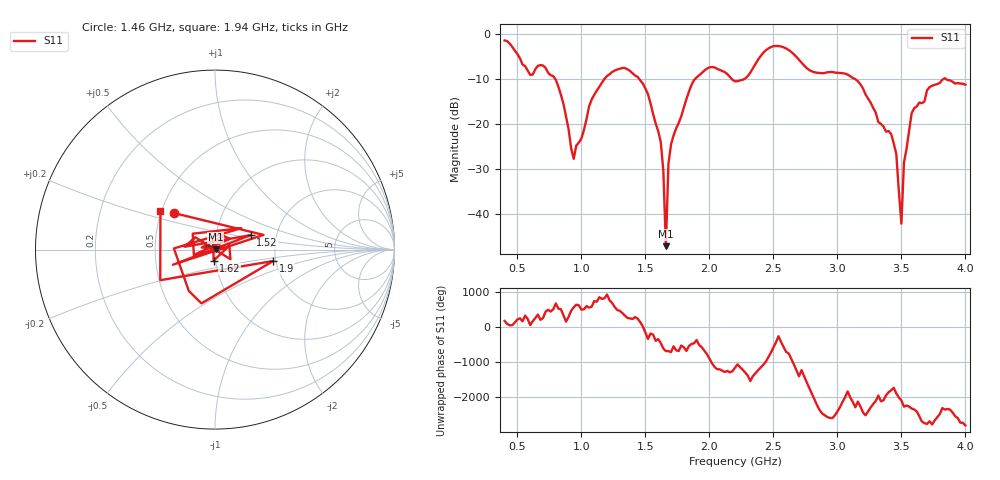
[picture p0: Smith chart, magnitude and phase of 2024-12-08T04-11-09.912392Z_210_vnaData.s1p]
!Created with skrf (http://scikit-rf.org).
# Hz S RI R 50.0
!freq ReS11 ImS11
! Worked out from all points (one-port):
!   181 points, 400 MHz to 4 GHz, reference 50 ohm
!   lowest |S11| = -47.3 dB at 1.66 GHz (marker M1), VSWR 1.01, Z = 50.4 + j0.248 ohm
!   |S11| at or under -10 dB: 796.9 MHz to 1.178 GHz (381.6 MHz wide, 38.6 % of centre); 1.453 GHz to 1.887 GHz (434 MHz wide, 26 % of centre); 3.14 GHz to 3.827 GHz (687.1 MHz wide, 19.7 % of centre) (the widest 3 of 5)
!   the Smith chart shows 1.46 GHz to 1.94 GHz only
!   S11 on the Smith chart (normalised r, x): 1.46 GHz: 0.58, +0.26; 1.52 GHz: 1.47, +0.25; 1.62 GHz: 0.98, -0.12; 1.9 GHz: 1.93, -0.28; 1.94 GHz: 0.49, +0.24
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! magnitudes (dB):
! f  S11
! 400 MHz  -1.4
! 600 MHz  -9.0
! 780 MHz  -9.3
! 860 MHz  -15.5
! 940 MHz  -27.8
! 1.08 GHz  -14.5
! 1.3 GHz  -7.7
! 1.46 GHz  -10.3
! 1.52 GHz  -13.4
! 1.62 GHz  -24.0
! 1.64 GHz  -30.3
! 1.66 GHz  -47.3
! 1.68 GHz  -28.9
! 1.76 GHz  -19.8
! 1.9 GHz  -9.6
! 1.94 GHz  -8.6
! 2.2 GHz  -10.5
! 2.48 GHz  -2.8
! 2.66 GHz  -4.5
! 3.1 GHz  -9.3
! 3.42 GHz  -22.3
! 3.46 GHz  -26.7
! 3.5 GHz  -42.2
! 3.52 GHz  -28.6
! 3.56 GHz  -21.6
! 3.58 GHz  -17.6
! 3.72 GHz  -11.8
! 4 GHz  -11.2
